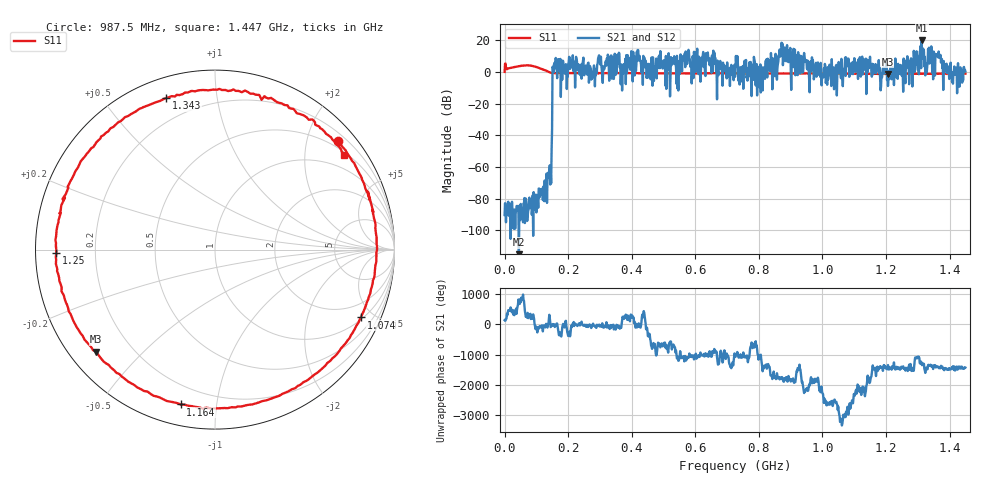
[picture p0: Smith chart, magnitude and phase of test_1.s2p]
! Created with skrf 1.11.0 (http://scikit-rf.org).
# Hz S RI R 50.0
!freq ReS11 ImS11 ReS21 ImS21 ReS12 ImS12 ReS22 ImS22
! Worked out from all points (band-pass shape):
!   1001 points, 50 kHz to 1.45 GHz, reference 50 ohm
!   highest |S21| = 20.02 dB at 1.312 GHz (marker M1); lowest = -117.0 dB at 45 MHz (marker M2)
!   |S21| within 3 dB of the highest: 871.1698 MHz to 872.285 MHz (1.115 MHz wide, 0.128 % of centre); 873.7335 MHz to 874.4708 MHz (737.4 kHz wide, 0.0844 % of centre) (the widest 2 of 4)
!   lowest |S11| = -1.2 dB at 1.205 GHz (marker M3), VSWR 14.76, Z = 3.85 - j18.4 ohm
!   |S11| at or under -10 dB: nowhere
!   |S22| runs from - to - dB; largest |S21 - S12| = 0
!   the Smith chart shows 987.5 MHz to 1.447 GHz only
!   S11 on the Smith chart (normalised r, x): 987.5 MHz: 0.35, +2.60; 1.074 GHz: 1.10, -4.25; 1.164 GHz: 0.10, -0.80; 1.25 GHz: 0.06, -0.01; 1.343 GHz: 0.09, +0.72; 1.447 GHz: 0.56, +2.96
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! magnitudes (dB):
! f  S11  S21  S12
! 50 kHz  0.2  -90.3  -90.3
! 45 MHz  3.7  -117.0  -117.0
! 123.3 MHz  1.5  -72.0  -72.0
! 139.2 MHz  0.1  -66.9  -66.9
! 158.1 MHz  -0.7  2.3  2.3
! 242.2 MHz  -0.6  -4.1  -4.1
! 484.3 MHz  -0.7  9.7  9.7
! 725 MHz  -0.8  -3.0  -3.0
! 801.9 MHz  -0.9  3.6  3.6
! 877.3 MHz  -0.9  9.4  9.4
! 967.2 MHz  -0.8  9.4  9.4
! 987.5 MHz  -0.8  3.1  3.1
! 1.038 GHz  -0.9  1.9  1.9
! 1.074 GHz  -0.9  9.3  9.3
! 1.164 GHz  -1.1  3.1  3.1
! 1.205 GHz  -1.2  1.0  1.0
! 1.209 GHz  -1.1  0.0  0.0
! 1.25 GHz  -1.1  -2.3  -2.3
! 1.312 GHz  -1.0  20.0  20.0
! 1.343 GHz  -1.0  16.3  16.3
! 1.447 GHz  -1.0  0.6  0.6
! 1.45 GHz  -1.0  0.4  0.4
